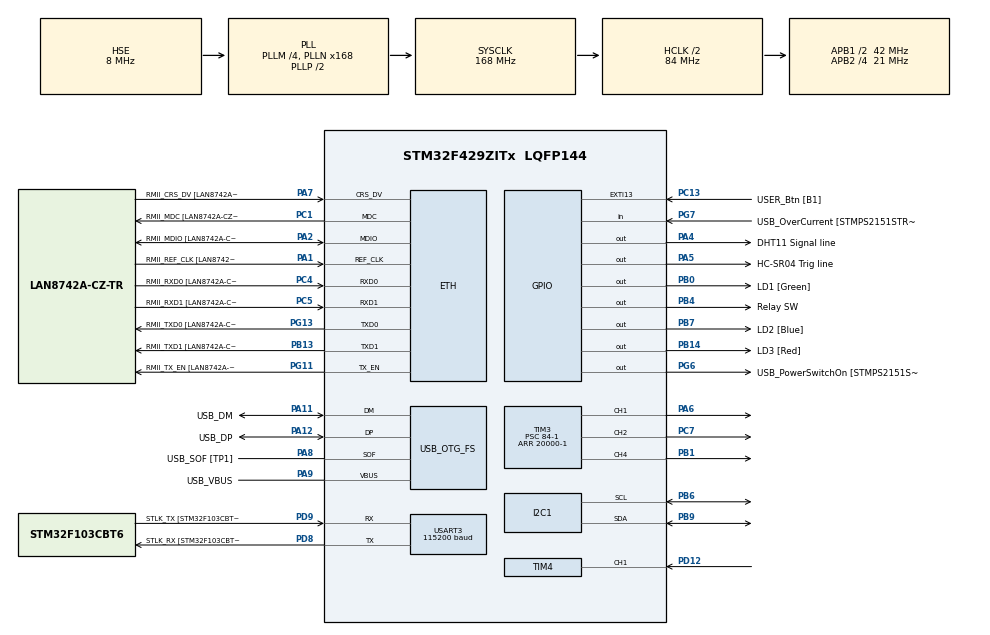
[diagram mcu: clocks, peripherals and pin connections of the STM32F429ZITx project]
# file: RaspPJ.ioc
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ETH.MediaInterface=HAL_ETH_RMII_MODE
ETH.PHY_Name=LAN8742A_PHY_ADDRESS
ETH.PHY_Value=0
ETH.PhyAddress=0
I2C1.I2C_Mode=I2C_Fast
Mcu.Family=STM32F4
Mcu.Name=STM32F429ZITx
Mcu.Package=LQFP144
NVIC.EXTI15_10_IRQn=true\:0\:0\:false\:false\:true\:true\:true\:true
NVIC.PriorityGroup=NVIC_PRIORITYGROUP_4
NVIC.TIM4_IRQn=true\:0\:0\:false\:false\:true\:true\:true\:true
NVIC.TIM6_DAC_IRQn=true\:0\:0\:false\:false\:true\:true\:true\:true
NVIC.USART3_IRQn=true\:0\:0\:false\:false\:true\:true\:true\:true
PA1.GPIO_Label=RMII_REF_CLK [LAN8742A-CZ-TR_REFCLK0]
PA1.Mode=RMII
PA1.Signal=ETH_REF_CLK
PA10.GPIO_Label=USB_ID
PA10.Signal=USB_OTG_FS_ID
PA11.GPIO_Label=USB_DM
PA11.Mode=Device_Only
PA11.Signal=USB_OTG_FS_DM
PA12.GPIO_Label=USB_DP
PA12.Mode=Device_Only
PA12.Signal=USB_OTG_FS_DP
PA13.GPIO_Label=TMS
PA13.Mode=Serial_Wire
PA13.Signal=SYS_JTMS-SWDIO
PA14.GPIO_Label=TCK
PA14.Mode=Serial_Wire
PA14.Signal=SYS_JTCK-SWCLK
PA2.GPIO_Label=RMII_MDIO [LAN8742A-CZ-TR_MDIO]
PA2.Mode=RMII
PA2.Signal=ETH_MDIO
PA4.GPIO_Label=DHT11 Signal line
PA4.GPIO_PuPd=GPIO_NOPULL
PA4.Signal=GPIO_Output
PA5.GPIO_Label=HC-SR04 Trig line
PA5.GPIO_PuPd=GPIO_NOPULL
PA5.Signal=GPIO_Output
PA6.Signal=S_TIM3_CH1
PA7.GPIO_Label=RMII_CRS_DV [LAN8742A-CZ-TR_CRS_DV]
PA7.Mode=RMII
PA7.Signal=ETH_CRS_DV
PA8.GPIO_Label=USB_SOF [TP1]
PA8.Mode=Activate_SOF_FS
PA8.Signal=USB_OTG_FS_SOF
PA9.GPIO_Label=USB_VBUS
PA9.Mode=Activate_VBUS
PA9.Signal=USB_OTG_FS_VBUS
PB0.GPIO_Label=LD1 [Green]
PB0.Signal=GPIO_Output
PB1.Signal=S_TIM3_CH4
PB13.GPIO_Label=RMII_TXD1 [LAN8742A-CZ-TR_TXD1]
PB13.Mode=RMII
PB13.Signal=ETH_TXD1
PB14.GPIO_Label=LD3 [Red]
PB14.Signal=GPIO_Output
PB4.GPIO_Label=Relay SW
PB4.Signal=GPIO_Output
PB6.Mode=I2C
PB6.Signal=I2C1_SCL
PB7.GPIO_Label=LD2 [Blue]
PB7.Signal=GPIO_Output
PB9.Mode=I2C
PB9.Signal=I2C1_SDA
PC1.GPIO_Label=RMII_MDC [LAN8742A-CZ-TR_MDC]
PC1.Mode=RMII
PC1.Signal=ETH_MDC
PC13.GPIO_Label=USER_Btn [B1]
PC13.Signal=GPXTI13
PC14/OSC32_IN.Mode=LSE-External-Oscillator
PC14/OSC32_IN.Signal=RCC_OSC32_IN
PC15/OSC32_OUT.Mode=LSE-External-Oscillator
PC15/OSC32_OUT.Signal=RCC_OSC32_OUT
PC4.GPIO_Label=RMII_RXD0 [LAN8742A-CZ-TR_RXD0]
PC4.Mode=RMII
PC4.Signal=ETH_RXD0
PC5.GPIO_Label=RMII_RXD1 [LAN8742A-CZ-TR_RXD1]
PC5.Mode=RMII
PC5.Signal=ETH_RXD1
PC7.Signal=S_TIM3_CH2
PD12.Signal=S_TIM4_CH1
PD8.GPIO_Label=STLK_RX [STM32F103CBT6_PA3]
PD8.Mode=Asynchronous
PD8.Signal=USART3_TX
PD9.GPIO_Label=STLK_TX [STM32F103CBT6_PA2]
PD9.Mode=Asynchronous
PD9.Signal=USART3_RX
PG11.GPIO_Label=RMII_TX_EN [LAN8742A-CZ-TR_TXEN]
PG11.Mode=RMII
PG11.Signal=ETH_TX_EN
PG13.GPIO_Label=RMII_TXD0 [LAN8742A-CZ-TR_TXD0]
PG13.Mode=RMII
PG13.Signal=ETH_TXD0
PG6.GPIO_Label=USB_PowerSwitchOn [STMPS2151STR_EN]
PG6.Signal=GPIO_Output
PG7.GPIO_Label=USB_OverCurrent [STMPS2151STR_FAULT]
PG7.Signal=GPIO_Input
PH0/OSC_IN.GPIO_Label=MCO [STM32F103CBT6_PA8]
PH0/OSC_IN.Mode=HSE-External-Clock-Source
PH0/OSC_IN.Signal=RCC_OSC_IN
PH1/OSC_OUT.Mode=HSE-External-Clock-Source
PH1/OSC_OUT.Signal=RCC_OSC_OUT
ProjectManager.HeapSize=0x200
ProjectManager.StackSize=0x400
ProjectManager.TargetToolchain=STM32CubeIDE
RCC.48MHZClocksFreq_Value=48000000
RCC.AHBCLKDivider=RCC_SYSCLK_DIV2
RCC.AHBFreq_Value=84000000
RCC.APB1CLKDivider=RCC_HCLK_DIV2
RCC.APB1Freq_Value=42000000
RCC.APB1TimFreq_Value=84000000
RCC.APB2CLKDivider=RCC_HCLK_DIV4
RCC.APB2Freq_Value=21000000
RCC.APB2TimCLKDivider=2
RCC.APB2TimFreq_Value=42000000
RCC.CortexFreq_Value=84000000
RCC.HCLKFreq_Value=84000000
RCC.HSE_VALUE=8000000
RCC.HSI_VALUE=16000000
RCC.PLLM=4
RCC.PLLMUL=RCC_PLL_MUL9
RCC.PLLN=168
RCC.PLLQ=7
RCC.PRESCALERUSB=RCC_USBCLKSOURCE_PLL_DIV1_5
RCC.SYSCLKFreq_VALUE=168000000
RCC.SYSCLKSource=RCC_SYSCLKSOURCE_PLLCLK
RCC.SYSCLKSourceVirtual=RCC_SYSCLKSOURCE_PLLCLK
RCC.USBFreq_Value=48000000
RCC.VCOOutputFreq_Value=336000000
SH.S_TIM3_CH1.0=TIM3_CH1,PWM Generation1 CH1
SH.S_TIM3_CH2.0=TIM3_CH2,PWM Generation2 CH2
SH.S_TIM3_CH4.0=TIM3_CH4,PWM Generation4 CH4
SH.S_TIM4_CH1.0=TIM4_CH1,Input_Capture1_from_TI1
TIM2.Prescaler=84-1
TIM3.Channel-PWM\ Generation1\ CH1=TIM_CHANNEL_1
TIM3.Channel-PWM\ Generation2\ CH2=TIM_CHANNEL_2
TIM3.Channel-PWM\ Generation4\ CH4=TIM_CHANNEL_4
TIM3.Period=20000-1
TIM3.Prescaler=84-1
TIM3.Pulse-PWM\ Generation1\ CH1=500
TIM3.Pulse-PWM\ Generation2\ CH2=2500
TIM3.Pulse-PWM\ Generation4\ CH4=1500
TIM4.Channel-Input_Capture1_from_TI1=TIM_CHANNEL_1
TIM4.Period=60000-1
TIM4.Prescaler=84-1
TIM6.Period=30000-1
TIM6.Prescaler=8400-1
USART3.BaudRate=115200
USART3.VirtualMode=VM_ASYNC
USB_OTG_FS.VirtualMode=Device_Only
VP_TIM2_VS_ClockSourceINT.Mode=Internal
VP_TIM3_VS_ClockSourceINT.Mode=Internal
VP_TIM4_VS_ClockSourceINT.Mode=Internal
VP_TIM6_VS_ClockSourceINT.Mode=Enable_Timer
board=NUCLEO-F429ZI

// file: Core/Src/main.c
/* USER CODE BEGIN Header */
/**
  ******************************************************************************
  * @file           : main.c
  * @brief          : Main program body
  ******************************************************************************
  * @attention
  *
  * Copyright (c) 2022 STMicroelectronics.
  * All rights reserved.
  *
  * This software is licensed under terms that can be found in the LICENSE file
  * in the root directory of this software component.
  * If no LICENSE file comes with this software, it is provided AS-IS.
  *
  ******************************************************************************
  */
/* USER CODE END Header */
#include "main.h"
#include "string.h"

/* USER CODE BEGIN Includes */
#include <stdio.h>
#include "i2c-lcd.h"
/* USER CODE END Includes */

ETH_TxPacketConfig TxConfig;
ETH_DMADescTypeDef  DMARxDscrTab[ETH_RX_DESC_CNT]; /* Ethernet Rx DMA Descriptors */
ETH_DMADescTypeDef  DMATxDscrTab[ETH_TX_DESC_CNT]; /* Ethernet Tx DMA Descriptors */

 ETH_HandleTypeDef heth;

I2C_HandleTypeDef hi2c1;

TIM_HandleTypeDef htim2;
TIM_HandleTypeDef htim3;
TIM_HandleTypeDef htim4;
TIM_HandleTypeDef htim6;

UART_HandleTypeDef huart3;

PCD_HandleTypeDef hpcd_USB_OTG_FS;

/* USER CODE BEGIN PV */
//================================
//<DHT11 PV>
uint32_t time;
uint8_t integral_RHdata;
uint8_t decimal_RHdata;
uint8_t integral_Tdata;
uint8_t decimal_Tdata;
uint8_t check_sum, Presence=0;

//================================
//<Sonic Sensor PV>
uint32_t IC1=0,IC2=0;
uint32_t count;
double echo_highvalue;
double waterlevel;
#define clk 84000000
#define psr 84
int flag = 0;

//================================
//< Data Transmit >
char TransmitD[20];
char state[10];
char ser_buff[10] = {0};
char ser_buff_temp[10] = {0};
int count_buff = 0;
//================================
//< LCD >
char TEMP[10];
char MOIS[10];
char Targettemp[10];

uint8_t targettemp = 25;
//================================
//<ON/OFF Swithch>
uint8_t flag_SW = 0;
//================================
/* USER CODE END PV */

void SystemClock_Config(void);
static void MX_GPIO_Init(void);
static void MX_ETH_Init(void);
static void MX_USART3_UART_Init(void);
static void MX_USB_OTG_FS_PCD_Init(void);
static void MX_TIM2_Init(void);
static void MX_TIM4_Init(void);
static void MX_TIM3_Init(void);
static void MX_TIM6_Init(void);
static void MX_I2C1_Init(void);
/* USER CODE BEGIN PFP */
#ifdef __GNUC__
#define PUTCHAR_PROTOTYPE int __io_putchar(int ch)
#else
#define PUTCHAR_PROTOTYPE int fputc(int ch, FILE *f)
#endif
PUTCHAR_PROTOTYPE
{
  HAL_UART_Transmit(&huart3, (uint8_t *)&ch, 1, 0xFFFF);
  return ch;
}

void us_delay(uint16_t time);
void Set_Pin_Output(GPIO_TypeDef *GPIOx, uint16_t GPIO_Pin);
void Set_Pin_Input(GPIO_TypeDef *GPIOx, uint16_t GPIO_Pin);
void DHT11_start();
uint8_t DHT11_Response( );
uint8_t DHT11_ReadData();
void SR04_trig();
void HAL_TIM_IC_CaptureCallback(TIM_HandleTypeDef *htim);
void HAL_GPIO_EXTI_Callback(uint16_t GPIO_Pin);
void HAL_TIM_PeriodElapsedCallback(TIM_HandleTypeDef *htim);
/* USER CODE END PFP */

/* USER CODE BEGIN 0 */
//=========================================================================================================
//< DHT11 >

void us_delay(uint16_t time)
{
	__HAL_TIM_SET_COUNTER(&htim2, 0);
	while((__HAL_TIM_GET_COUNTER(&htim2)) < time);
}

void Set_Pin_Output(GPIO_TypeDef *GPIOx, uint16_t GPIO_Pin){

	  GPIO_InitTypeDef GPIO_InitStruct = {0};

	  GPIO_InitStruct.Pin = GPIO_Pin;
	  GPIO_InitStruct.Mode = GPIO_MODE_OUTPUT_PP;
	  GPIO_InitStruct.Speed = GPIO_SPEED_FREQ_LOW;
	  HAL_GPIO_Init(GPIOx, &GPIO_InitStruct);

}

void Set_Pin_Input(GPIO_TypeDef *GPIOx, uint16_t GPIO_Pin){

	  GPIO_InitTypeDef GPIO_InitStruct = {0};

	  GPIO_InitStruct.Pin = GPIO_Pin;
	  GPIO_InitStruct.Mode = GPIO_MODE_INPUT;
	  GPIO_InitStruct.Pull = GPIO_PULLDOWN;
	  HAL_GPIO_Init(GPIOx, &GPIO_InitStruct);

}

void DHT11_start(){

	Set_Pin_Output(GPIOA, GPIO_PIN_4);

	HAL_GPIO_WritePin(GPIOA, GPIO_PIN_4, GPIO_PIN_RESET);
	us_delay(18000);
	HAL_GPIO_WritePin(GPIOA, GPIO_PIN_4, GPIO_PIN_SET);
	us_delay(40);
	HAL_GPIO_WritePin(GPIOA, GPIO_PIN_4, GPIO_PIN_RESET);
	Set_Pin_Input(GPIOA, GPIO_PIN_4);

}

uint8_t DHT11_Response( ){

	uint8_t response = 0;

	us_delay(30);
	if(!(HAL_GPIO_ReadPin(GPIOA, GPIO_PIN_4)))		// LOW
	{
		us_delay(80);
		if((HAL_GPIO_ReadPin(GPIOA, GPIO_PIN_4)))	// High
		{
			response = 1;
		}else response = -1;
	}
	while((HAL_GPIO_ReadPin(GPIOA, GPIO_PIN_4)));	// wait for the pin to go low

	return response;
	// if you receive 'High', try again Initialization.
	// or receive 'low', you can recieve data from DHT11
}

uint8_t DHT11_ReadData(){

	uint8_t data;

	for(uint8_t i=0 ; i <8 ; i++)
	{
		while(!(HAL_GPIO_ReadPin(GPIOA,GPIO_PIN_4))); // wait for the pin to go high
		us_delay(40);

		if(!(HAL_GPIO_ReadPin(GPIOA,GPIO_PIN_4)))
		{
			data = (data <<1 ); // write 0
		}
		else data = (data <<1) + 1 ; // write 1

		while((HAL_GPIO_ReadPin(GPIOA,GPIO_PIN_4)));
	}
	return data;
}
//=========================================================================================================
//<Sonic sensor>
void SR04_trig(){
	HAL_GPIO_WritePin(GPIOA, GPIO_PIN_5, GPIO_PIN_SET);
	us_delay(10);
	HAL_GPIO_WritePin(GPIOA, GPIO_PIN_5, GPIO_PIN_RESET);
}

//=========================================================================================================
/* USER CODE END 0 */

int main(void)
{

  /* MCU Configuration--------------------------------------------------------*/

  /* Reset of all peripherals, Initializes the Flash interface and the Systick. */
  HAL_Init();

  /* Configure the system clock */
  SystemClock_Config();

  /* Initialize all configured peripherals */
  MX_GPIO_Init();
  MX_ETH_Init();
  MX_USART3_UART_Init();
  MX_USB_OTG_FS_PCD_Init();
  MX_TIM2_Init();
  MX_TIM4_Init();
  MX_TIM3_Init();
  MX_TIM6_Init();
  MX_I2C1_Init();
  /* USER CODE BEGIN 2 */
  HAL_UART_Receive_IT(&huart3, ser_buff_temp, sizeof(ser_buff_temp));
  HAL_TIM_Base_Start(&htim2);
  HAL_TIM_IC_Start_IT(&htim4, TIM_CHANNEL_1);
  HAL_TIM_PWM_Start(&htim3, TIM_CHANNEL_1);	 	// initial pulse value of servo1(cool watertap) : 500 (500->turn off, 1500->turn on)
  HAL_TIM_PWM_Start(&htim3, TIM_CHANNEL_2);	 	// initial pulse value of servo2(hot watertap) : 2500 (2500->turn off, 1500-> turn on))
  HAL_TIM_PWM_Start(&htim3, TIM_CHANNEL_4);	 	// initial pulse value of servo3(waterspout) : 1500 (1500-> open, 2500->close)
  HAL_TIM_Base_Start_IT(&htim6);
  lcd_init();

  /* USER CODE END 2 */

  /* Infinite loop */
  /* USER CODE BEGIN WHILE */
  while (1)
  {
	  //====================================================================================================================================
	  if(flag_SW == 0)
	  {
		  sprintf(state,"OFF");
		  TIM3->CCR1 = 500;
		  TIM3->CCR2 = 2500;
		  TIM3->CCR4 = 1500;

		  lcd_put_cur(0, 0);
		  lcd_send_string("STATE : ");
		  lcd_put_cur(0, 8);
		  lcd_send_string("OFF");
		  lcd_put_cur(1, 0);
		  sprintf(Targettemp,"Target: %d",targettemp);
		  lcd_send_string(Targettemp);

		  for(int i=0;i<1000;i++) us_delay(1100);
	  }

	  //====================================================================================================================================
	  if(flag_SW == 1)	// start to autobath
	  {
		  TIM3->CCR4 = 2500;

		  sprintf(state,"ON");
		  lcd_put_cur(0, 0);
		  lcd_send_string("STATE : ");
		  lcd_put_cur(0, 8);
		  lcd_send_string("ON ");
		  lcd_put_cur(1,0);
		  sprintf(TEMP,"Temp:%d",integral_Tdata);
		  lcd_send_string(ser_buff);
		  lcd_put_cur(1,7);
		  sprintf(MOIS," Mois:%d",integral_RHdata);
		  lcd_send_string(MOIS);

		  //======================================================================================
		  // <servo motor>
		  if(waterlevel > 5)
		  {
			  if(integral_Tdata == targettemp) // target temperature : 25~26 'C
			  {
				  TIM3->CCR1 = 1500;
				  TIM3->CCR2 = 1500;
			  }
			  else if(integral_Tdata > targettemp)						// if higher than 26celcius, turn on the cool watertap(servo1) and turn off the hot watertap(servo2)
			  {
				  TIM3->CCR1 = 1500;
				  TIM3->CCR2 = 2500;
			  }
			  else if(integral_Tdata < targettemp)						// if lower than 25celcius, turn on the hot watertap(servo2) and turn off the cool watertap(servo1)
			  {
				  TIM3->CCR1 = 500;
				  TIM3->CCR2 = 1500;
			  }
		  }
		  else if(waterlevel < 5)	// if reach target water level(5cm), turn off all watertap
		  {
			  TIM3->CCR1 = 500;
			  TIM3->CCR2 = 2500;
		  }
		  //======================================================================================
		  // <relay sw / Fan >

		  if(integral_RHdata >= 60)
			  HAL_GPIO_WritePin(GPIOB, GPIO_PIN_4, GPIO_PIN_SET);
		  else if(integral_RHdata < 60)
			  HAL_GPIO_WritePin(GPIOB, GPIO_PIN_4, GPIO_PIN_RESET);

		  for(int i=0;i<1000;i++) us_delay(1100);
		  lcd_clear();
	  }
	  //====================================================================================================================================
	  //< Data Transmit >
	  sprintf(TransmitD,"%s:%d:%dL",state,integral_Tdata,(int)waterlevel);
	  printf("%s",TransmitD);

	  fflush(stdout);
	  //====================================================================================================================================
    /* USER CODE END WHILE */

  }
}

void SystemClock_Config(void)
{
  RCC_OscInitTypeDef RCC_OscInitStruct = {0};
  RCC_ClkInitTypeDef RCC_ClkInitStruct = {0};

  /** Configure the main internal regulator output voltage
  */
  __HAL_RCC_PWR_CLK_ENABLE();
  __HAL_PWR_VOLTAGESCALING_CONFIG(PWR_REGULATOR_VOLTAGE_SCALE3);

  /** Initializes the RCC Oscillators according to the specified parameters
  * in the RCC_OscInitTypeDef structure.
  */
  RCC_OscInitStruct.OscillatorType = RCC_OSCILLATORTYPE_HSE;
  RCC_OscInitStruct.HSEState = RCC_HSE_BYPASS;
  RCC_OscInitStruct.PLL.PLLState = RCC_PLL_ON;
  RCC_OscInitStruct.PLL.PLLSource = RCC_PLLSOURCE_HSE;
  RCC_OscInitStruct.PLL.PLLM = 4;
  RCC_OscInitStruct.PLL.PLLN = 168;
  RCC_OscInitStruct.PLL.PLLP = RCC_PLLP_DIV2;
  RCC_OscInitStruct.PLL.PLLQ = 7;
  if (HAL_RCC_OscConfig(&RCC_OscInitStruct) != HAL_OK)
  {
    Error_Handler();
  }

  /** Initializes the CPU, AHB and APB buses clocks
  */
  RCC_ClkInitStruct.ClockType = RCC_CLOCKTYPE_HCLK|RCC_CLOCKTYPE_SYSCLK
                              |RCC_CLOCKTYPE_PCLK1|RCC_CLOCKTYPE_PCLK2;
  RCC_ClkInitStruct.SYSCLKSource = RCC_SYSCLKSOURCE_PLLCLK;
  RCC_ClkInitStruct.AHBCLKDivider = RCC_SYSCLK_DIV2;
  RCC_ClkInitStruct.APB1CLKDivider = RCC_HCLK_DIV2;
  RCC_ClkInitStruct.APB2CLKDivider = RCC_HCLK_DIV4;

  if (HAL_RCC_ClockConfig(&RCC_ClkInitStruct, FLASH_LATENCY_2) != HAL_OK)
  {
    Error_Handler();
  }
}

static void MX_ETH_Init(void)
{

   static uint8_t MACAddr[6];

  heth.Instance = ETH;
  MACAddr[0] = 0x00;
  MACAddr[1] = 0x80;
  MACAddr[2] = 0xE1;
  MACAddr[3] = 0x00;
  MACAddr[4] = 0x00;
  MACAddr[5] = 0x00;
  heth.Init.MACAddr = &MACAddr[0];
  heth.Init.MediaInterface = HAL_ETH_RMII_MODE;
  heth.Init.TxDesc = DMATxDscrTab;
  heth.Init.RxDesc = DMARxDscrTab;
  heth.Init.RxBuffLen = 1524;

  if (HAL_ETH_Init(&heth) != HAL_OK)
  {
    Error_Handler();
  }

  memset(&TxConfig, 0 , sizeof(ETH_TxPacketConfig));
  TxConfig.Attributes = ETH_TX_PACKETS_FEATURES_CSUM | ETH_TX_PACKETS_FEATURES_CRCPAD;
  TxConfig.ChecksumCtrl = ETH_CHECKSUM_IPHDR_PAYLOAD_INSERT_PHDR_CALC;
  TxConfig.CRCPadCtrl = ETH_CRC_PAD_INSERT;

}

static void MX_I2C1_Init(void)
{

  hi2c1.Instance = I2C1;
  hi2c1.Init.ClockSpeed = 400000;
  hi2c1.Init.DutyCycle = I2C_DUTYCYCLE_2;
  hi2c1.Init.OwnAddress1 = 0;
  hi2c1.Init.AddressingMode = I2C_ADDRESSINGMODE_7BIT;
  hi2c1.Init.DualAddressMode = I2C_DUALADDRESS_DISABLE;
  hi2c1.Init.OwnAddress2 = 0;
  hi2c1.Init.GeneralCallMode = I2C_GENERALCALL_DISABLE;
  hi2c1.Init.NoStretchMode = I2C_NOSTRETCH_DISABLE;
  if (HAL_I2C_Init(&hi2c1) != HAL_OK)
  {
    Error_Handler();
  }

  /** Configure Analogue filter
  */
  if (HAL_I2CEx_ConfigAnalogFilter(&hi2c1, I2C_ANALOGFILTER_ENABLE) != HAL_OK)
  {
    Error_Handler();
  }

  /** Configure Digital filter
  */
  if (HAL_I2CEx_ConfigDigitalFilter(&hi2c1, 0) != HAL_OK)
  {
    Error_Handler();
  }

}

static void MX_TIM2_Init(void)
{

  TIM_ClockConfigTypeDef sClockSourceConfig = {0};
  TIM_MasterConfigTypeDef sMasterConfig = {0};

  htim2.Instance = TIM2;
  htim2.Init.Prescaler = 84-1;
  htim2.Init.CounterMode = TIM_COUNTERMODE_UP;
  htim2.Init.Period = 4294967295;
  htim2.Init.ClockDivision = TIM_CLOCKDIVISION_DIV1;
  htim2.Init.AutoReloadPreload = TIM_AUTORELOAD_PRELOAD_DISABLE;
  if (HAL_TIM_Base_Init(&htim2) != HAL_OK)
  {
    Error_Handler();
  }
  sClockSourceConfig.ClockSource = TIM_CLOCKSOURCE_INTERNAL;
  if (HAL_TIM_ConfigClockSource(&htim2, &sClockSourceConfig) != HAL_OK)
  {
    Error_Handler();
  }
  sMasterConfig.MasterOutputTrigger = TIM_TRGO_RESET;
  sMasterConfig.MasterSlaveMode = TIM_MASTERSLAVEMODE_DISABLE;
  if (HAL_TIMEx_MasterConfigSynchronization(&htim2, &sMasterConfig) != HAL_OK)
  {
    Error_Handler();
  }

}

static void MX_TIM3_Init(void)
{

  TIM_ClockConfigTypeDef sClockSourceConfig = {0};
  TIM_MasterConfigTypeDef sMasterConfig = {0};
  TIM_OC_InitTypeDef sConfigOC = {0};

  htim3.Instance = TIM3;
  htim3.Init.Prescaler = 84-1;
  htim3.Init.CounterMode = TIM_COUNTERMODE_UP;
  htim3.Init.Period = 20000-1;
  htim3.Init.ClockDivision = TIM_CLOCKDIVISION_DIV1;
  htim3.Init.AutoReloadPreload = TIM_AUTORELOAD_PRELOAD_DISABLE;
  if (HAL_TIM_Base_Init(&htim3) != HAL_OK)
  {
    Error_Handler();
  }
  sClockSourceConfig.ClockSource = TIM_CLOCKSOURCE_INTERNAL;
  if (HAL_TIM_ConfigClockSource(&htim3, &sClockSourceConfig) != HAL_OK)
  {
    Error_Handler();
  }
  if (HAL_TIM_PWM_Init(&htim3) != HAL_OK)
  {
    Error_Handler();
  }
  sMasterConfig.MasterOutputTrigger = TIM_TRGO_RESET;
  sMasterConfig.MasterSlaveMode = TIM_MASTERSLAVEMODE_DISABLE;
  if (HAL_TIMEx_MasterConfigSynchronization(&htim3, &sMasterConfig) != HAL_OK)
  {
    Error_Handler();
  }
  sConfigOC.OCMode = TIM_OCMODE_PWM1;
  sConfigOC.Pulse = 500;
  sConfigOC.OCPolarity = TIM_OCPOLARITY_HIGH;
  sConfigOC.OCFastMode = TIM_OCFAST_DISABLE;
  if (HAL_TIM_PWM_ConfigChannel(&htim3, &sConfigOC, TIM_CHANNEL_1) != HAL_OK)
  {
    Error_Handler();
  }
  sConfigOC.Pulse = 2500;
  if (HAL_TIM_PWM_ConfigChannel(&htim3, &sConfigOC, TIM_CHANNEL_2) != HAL_OK)
  {
    Error_Handler();
  }
  sConfigOC.Pulse = 1500;
  if (HAL_TIM_PWM_ConfigChannel(&htim3, &sConfigOC, TIM_CHANNEL_4) != HAL_OK)
  {
    Error_Handler();
  }
  HAL_TIM_MspPostInit(&htim3);

}

static void MX_TIM4_Init(void)
{

  TIM_ClockConfigTypeDef sClockSourceConfig = {0};
  TIM_MasterConfigTypeDef sMasterConfig = {0};
  TIM_IC_InitTypeDef sConfigIC = {0};

  htim4.Instance = TIM4;
  htim4.Init.Prescaler = 84-1;
  htim4.Init.CounterMode = TIM_COUNTERMODE_UP;
  htim4.Init.Period = 60000-1;
  htim4.Init.ClockDivision = TIM_CLOCKDIVISION_DIV1;
  htim4.Init.AutoReloadPreload = TIM_AUTORELOAD_PRELOAD_DISABLE;
  if (HAL_TIM_Base_Init(&htim4) != HAL_OK)
  {
    Error_Handler();
  }
  sClockSourceConfig.ClockSource = TIM_CLOCKSOURCE_INTERNAL;
  if (HAL_TIM_ConfigClockSource(&htim4, &sClockSourceConfig) != HAL_OK)
  {
    Error_Handler();
  }
  if (HAL_TIM_IC_Init(&htim4) != HAL_OK)
  {
    Error_Handler();
  }
  sMasterConfig.MasterOutputTrigger = TIM_TRGO_RESET;
  sMasterConfig.MasterSlaveMode = TIM_MASTERSLAVEMODE_DISABLE;
  if (HAL_TIMEx_MasterConfigSynchronization(&htim4, &sMasterConfig) != HAL_OK)
  {
    Error_Handler();
  }
  sConfigIC.ICPolarity = TIM_INPUTCHANNELPOLARITY_RISING;
  sConfigIC.ICSelection = TIM_ICSELECTION_DIRECTTI;
  sConfigIC.ICPrescaler = TIM_ICPSC_DIV1;
  sConfigIC.ICFilter = 0;
  if (HAL_TIM_IC_ConfigChannel(&htim4, &sConfigIC, TIM_CHANNEL_1) != HAL_OK)
  {
    Error_Handler();
  }

}

static void MX_TIM6_Init(void)
{

  TIM_MasterConfigTypeDef sMasterConfig = {0};

  htim6.Instance = TIM6;
  htim6.Init.Prescaler = 8400-1;
  htim6.Init.CounterMode = TIM_COUNTERMODE_UP;
  htim6.Init.Period = 30000-1;
  htim6.Init.AutoReloadPreload = TIM_AUTORELOAD_PRELOAD_DISABLE;
  if (HAL_TIM_Base_Init(&htim6) != HAL_OK)
  {
    Error_Handler();
  }
  sMasterConfig.MasterOutputTrigger = TIM_TRGO_RESET;
  sMasterConfig.MasterSlaveMode = TIM_MASTERSLAVEMODE_DISABLE;
  if (HAL_TIMEx_MasterConfigSynchronization(&htim6, &sMasterConfig) != HAL_OK)
  {
    Error_Handler();
  }

}

static void MX_USART3_UART_Init(void)
{

  huart3.Instance = USART3;
  huart3.Init.BaudRate = 115200;
  huart3.Init.WordLength = UART_WORDLENGTH_8B;
  huart3.Init.StopBits = UART_STOPBITS_1;
  huart3.Init.Parity = UART_PARITY_NONE;
  huart3.Init.Mode = UART_MODE_TX_RX;
  huart3.Init.HwFlowCtl = UART_HWCONTROL_NONE;
  huart3.Init.OverSampling = UART_OVERSAMPLING_16;
  if (HAL_UART_Init(&huart3) != HAL_OK)
  {
    Error_Handler();
  }

}

static void MX_USB_OTG_FS_PCD_Init(void)
{

  hpcd_USB_OTG_FS.Instance = USB_OTG_FS;
  hpcd_USB_OTG_FS.Init.dev_endpoints = 4;
  hpcd_USB_OTG_FS.Init.speed = PCD_SPEED_FULL;
  hpcd_USB_OTG_FS.Init.dma_enable = DISABLE;
  hpcd_USB_OTG_FS.Init.phy_itface = PCD_PHY_EMBEDDED;
  hpcd_USB_OTG_FS.Init.Sof_enable = ENABLE;
  hpcd_USB_OTG_FS.Init.low_power_enable = DISABLE;
  hpcd_USB_OTG_FS.Init.lpm_enable = DISABLE;
  hpcd_USB_OTG_FS.Init.vbus_sensing_enable = ENABLE;
  hpcd_USB_OTG_FS.Init.use_dedicated_ep1 = DISABLE;
  if (HAL_PCD_Init(&hpcd_USB_OTG_FS) != HAL_OK)
  {
    Error_Handler();
  }

}

static void MX_GPIO_Init(void)
{
  GPIO_InitTypeDef GPIO_InitStruct = {0};

  /* GPIO Ports Clock Enable */
  __HAL_RCC_GPIOC_CLK_ENABLE();
  __HAL_RCC_GPIOH_CLK_ENABLE();
  __HAL_RCC_GPIOA_CLK_ENABLE();
  __HAL_RCC_GPIOB_CLK_ENABLE();
  __HAL_RCC_GPIOD_CLK_ENABLE();
  __HAL_RCC_GPIOG_CLK_ENABLE();

  /*Configure GPIO pin Output Level */
  HAL_GPIO_WritePin(GPIOA, DHT11_Signal_line_Pin|HC_SR04_Trig_line_Pin, GPIO_PIN_RESET);

  /*Configure GPIO pin Output Level */
  HAL_GPIO_WritePin(GPIOB, LD1_Pin|LD3_Pin|Relay_SW_Pin|LD2_Pin, GPIO_PIN_RESET);

  /*Configure GPIO pin Output Level */
  HAL_GPIO_WritePin(USB_PowerSwitchOn_GPIO_Port, USB_PowerSwitchOn_Pin, GPIO_PIN_RESET);

  /*Configure GPIO pin : USER_Btn_Pin */
  GPIO_InitStruct.Pin = USER_Btn_Pin;
  GPIO_InitStruct.Mode = GPIO_MODE_IT_RISING;
  GPIO_InitStruct.Pull = GPIO_NOPULL;
  HAL_GPIO_Init(USER_Btn_GPIO_Port, &GPIO_InitStruct);

  /*Configure GPIO pins : DHT11_Signal_line_Pin HC_SR04_Trig_line_Pin */
  GPIO_InitStruct.Pin = DHT11_Signal_line_Pin|HC_SR04_Trig_line_Pin;
  GPIO_InitStruct.Mode = GPIO_MODE_OUTPUT_PP;
  GPIO_InitStruct.Pull = GPIO_NOPULL;
  GPIO_InitStruct.Speed = GPIO_SPEED_FREQ_LOW;
  HAL_GPIO_Init(GPIOA, &GPIO_InitStruct);

  /*Configure GPIO pins : LD1_Pin LD3_Pin Relay_SW_Pin LD2_Pin */
  GPIO_InitStruct.Pin = LD1_Pin|LD3_Pin|Relay_SW_Pin|LD2_Pin;
  GPIO_InitStruct.Mode = GPIO_MODE_OUTPUT_PP;
  GPIO_InitStruct.Pull = GPIO_NOPULL;
  GPIO_InitStruct.Speed = GPIO_SPEED_FREQ_LOW;
  HAL_GPIO_Init(GPIOB, &GPIO_InitStruct);

  /*Configure GPIO pin : USB_PowerSwitchOn_Pin */
  GPIO_InitStruct.Pin = USB_PowerSwitchOn_Pin;
  GPIO_InitStruct.Mode = GPIO_MODE_OUTPUT_PP;
  GPIO_InitStruct.Pull = GPIO_NOPULL;
  GPIO_InitStruct.Speed = GPIO_SPEED_FREQ_LOW;
  HAL_GPIO_Init(USB_PowerSwitchOn_GPIO_Port, &GPIO_InitStruct);

  /*Configure GPIO pin : USB_OverCurrent_Pin */
  GPIO_InitStruct.Pin = USB_OverCurrent_Pin;
  GPIO_InitStruct.Mode = GPIO_MODE_INPUT;
  GPIO_InitStruct.Pull = GPIO_NOPULL;
  HAL_GPIO_Init(USB_OverCurrent_GPIO_Port, &GPIO_InitStruct);

  /* EXTI interrupt init*/
  HAL_NVIC_SetPriority(EXTI15_10_IRQn, 0, 0);
  HAL_NVIC_EnableIRQ(EXTI15_10_IRQn);

}

/* USER CODE BEGIN 4 */
//=====================================================================================================
// < Sonic Sensor >

void HAL_TIM_IC_CaptureCallback(TIM_HandleTypeDef *htim)
{
	if(htim->Channel == HAL_TIM_ACTIVE_CHANNEL_1)
	{
		if(flag == 0)
		{
			IC1 = HAL_TIM_ReadCapturedValue(&htim4, TIM_CHANNEL_1);
			flag = 1;
			__HAL_TIM_SET_CAPTUREPOLARITY(&htim4,TIM_CHANNEL_1,TIM_INPUTCHANNELPOLARITY_FALLING);
		}
		else if(flag ==1)
		{

			IC2 = HAL_TIM_ReadCapturedValue(&htim4, TIM_CHANNEL_1);
			flag = 0;
			__HAL_TIM_SET_CAPTUREPOLARITY(&htim4,TIM_CHANNEL_1,TIM_INPUTCHANNELPOLARITY_RISING);

			if( IC2 > IC1 )
			{
				count = IC2 - IC1;
			}
			else if( IC1 > IC2 )
			{
				count = IC1 + (60000-IC2);
			}

			echo_highvalue = count*0.000001;
			waterlevel = (echo_highvalue/2)*340*100;
		}
	}
}
//=====================================================================================================
//< ON/OFF Switch >

void HAL_GPIO_EXTI_Callback(uint16_t GPIO_Pin)
{
	if(GPIO_Pin == GPIO_PIN_13)
	{
			if(flag_SW == 0)
			{
				flag_SW = 1;
			}
			else if(flag_SW == 1)
			{
				flag_SW = 0;
			}
	}
}
//=====================================================================================================
//< Sensing >
void HAL_TIM_PeriodElapsedCallback(TIM_HandleTypeDef *htim){

	if((htim->Instance) == TIM6)
	{
      //==================================================================
	  //<DHT11>
	  DHT11_start();
	  Presence = DHT11_Response();

	  integral_RHdata= DHT11_ReadData();
	  decimal_RHdata= DHT11_ReadData();
	  integral_Tdata= DHT11_ReadData();
	  decimal_Tdata= DHT11_ReadData();
	  check_sum= DHT11_ReadData();

	  //==================================================================
	  //<Sonic Sensor>
	  SR04_trig();

	}
}

void HAL_UART_RxCpltCallback(UART_HandleTypeDef* uartHandle)
{

	while((ser_buff_temp[count_buff] != 0))
	{
		ser_buff[count_buff] = ser_buff_temp[count_buff];
		count_buff++;
	}

	for(int i = 0 ; i<10 ; i++)
	{
		ser_buff_temp[i] = 0;
	}

	count_buff = 0;

}

//=====================================================================================================

/* USER CODE END 4 */

void Error_Handler(void)
{
  __disable_irq();
  while (1)
  {
  }
}
